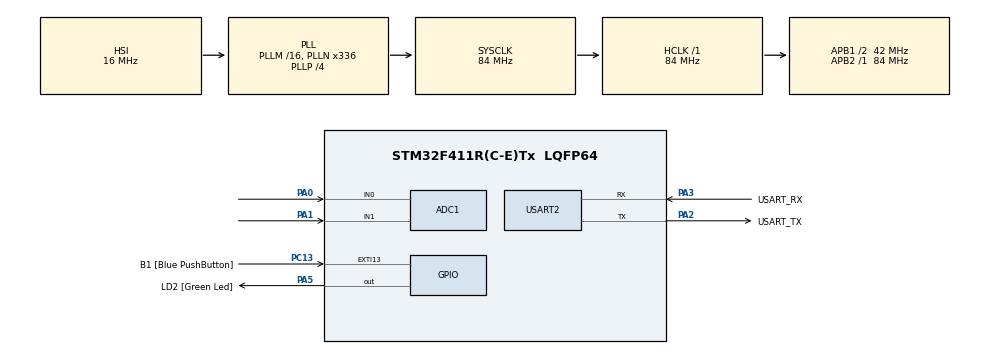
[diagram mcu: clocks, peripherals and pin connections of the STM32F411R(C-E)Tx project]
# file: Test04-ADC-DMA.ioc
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ADC1.Channel-0\#ChannelRegularConversion=ADC_CHANNEL_0
ADC1.Channel-1\#ChannelRegularConversion=ADC_CHANNEL_1
ADC1.ContinuousConvMode=DISABLE
ADC1.DMAContinuousRequests=ENABLE
ADC1.DiscontinuousConvMode=ENABLE
ADC1.EOCSelection=ADC_EOC_SEQ_CONV
ADC1.ExternalTrigConv=ADC_EXTERNALTRIGCONV_T2_TRGO
ADC1.ExternalTrigConvEdge=ADC_EXTERNALTRIGCONVEDGE_FALLING
ADC1.NbrOfConversion=2
ADC1.NbrOfConversionFlag=1
ADC1.Rank-0\#ChannelRegularConversion=1
ADC1.Rank-1\#ChannelRegularConversion=2
ADC1.SamplingTime-0\#ChannelRegularConversion=ADC_SAMPLETIME_3CYCLES
ADC1.SamplingTime-1\#ChannelRegularConversion=ADC_SAMPLETIME_3CYCLES
ADC1.ScanConvMode=ENABLE
ADC1.master=1
Dma.ADC1.0.Direction=DMA_PERIPH_TO_MEMORY
Dma.ADC1.0.FIFOMode=DMA_FIFOMODE_DISABLE
Dma.ADC1.0.Instance=DMA2_Stream0
Dma.ADC1.0.MemDataAlignment=DMA_MDATAALIGN_HALFWORD
Dma.ADC1.0.MemInc=DMA_MINC_ENABLE
Dma.ADC1.0.Mode=DMA_CIRCULAR
Dma.ADC1.0.PeriphDataAlignment=DMA_PDATAALIGN_HALFWORD
Dma.ADC1.0.PeriphInc=DMA_PINC_DISABLE
Dma.ADC1.0.Priority=DMA_PRIORITY_LOW
Dma.Request0=ADC1
Mcu.Family=STM32F4
Mcu.Name=STM32F411R(C-E)Tx
Mcu.Package=LQFP64
NVIC.ADC_IRQn=true\:0\:0\:false\:false\:true\:true\:true\:true
NVIC.DMA2_Stream0_IRQn=true\:0\:0\:false\:false\:true\:false\:true\:true
NVIC.PriorityGroup=NVIC_PRIORITYGROUP_0
PA0-WKUP.Signal=ADCx_IN0
PA1.Signal=ADCx_IN1
PA13.GPIO_Label=TMS
PA13.Mode=Serial_Wire
PA13.Signal=SYS_JTMS-SWDIO
PA14.GPIO_Label=TCK
PA14.Mode=Serial_Wire
PA14.Signal=SYS_JTCK-SWCLK
PA2.GPIO_Label=USART_TX
PA2.Mode=Asynchronous
PA2.Signal=USART2_TX
PA3.GPIO_Label=USART_RX
PA3.Mode=Asynchronous
PA3.Signal=USART2_RX
PA5.GPIO_Label=LD2 [Green Led]
PA5.Signal=GPIO_Output
PB3.GPIO_Label=SWO
PB3.Signal=SYS_JTDO-SWO
PC13-ANTI_TAMP.GPIO_Label=B1 [Blue PushButton]
PC13-ANTI_TAMP.GPIO_ModeDefaultEXTI=GPIO_MODE_IT_FALLING
PC13-ANTI_TAMP.Signal=GPXTI13
PC14-OSC32_IN.Mode=LSE-External-Oscillator
PC14-OSC32_IN.Signal=RCC_OSC32_IN
PC15-OSC32_OUT.Mode=LSE-External-Oscillator
PC15-OSC32_OUT.Signal=RCC_OSC32_OUT
PH0\ -\ OSC_IN.Mode=HSE-External-Clock-Source
PH0\ -\ OSC_IN.Signal=RCC_OSC_IN
PH1\ -\ OSC_OUT.Mode=HSE-External-Clock-Source
PH1\ -\ OSC_OUT.Signal=RCC_OSC_OUT
ProjectManager.HeapSize=0x200
ProjectManager.StackSize=0x400
ProjectManager.TargetToolchain=STM32CubeIDE
RCC.48MHZClocksFreq_Value=84000000
RCC.AHBFreq_Value=84000000
RCC.APB1CLKDivider=RCC_HCLK_DIV2
RCC.APB1Freq_Value=42000000
RCC.APB1TimFreq_Value=84000000
RCC.APB2Freq_Value=84000000
RCC.APB2TimFreq_Value=84000000
RCC.CortexFreq_Value=84000000
RCC.FLatency-AdvancedSettings=FLASH_LATENCY_2
RCC.HCLKFreq_Value=84000000
RCC.HSE_VALUE=8000000
RCC.HSI_VALUE=16000000
RCC.PLLN=336
RCC.PLLP=RCC_PLLP_DIV4
RCC.SYSCLKFreq_VALUE=84000000
RCC.SYSCLKSource=RCC_SYSCLKSOURCE_PLLCLK
RCC.VCOOutputFreq_Value=336000000
SH.ADCx_IN0.0=ADC1_IN0,IN0
SH.ADCx_IN1.0=ADC1_IN1,IN1
TIM2.Period=2000-1
TIM2.Prescaler=8400-1
TIM2.TIM_MasterOutputTrigger=TIM_TRGO_UPDATE
TIM2.TIM_MasterSlaveMode=TIM_MASTERSLAVEMODE_DISABLE
USART2.VirtualMode=VM_ASYNC
VP_TIM2_VS_ClockSourceINT.Mode=Internal
board=NUCLEO-F411RE

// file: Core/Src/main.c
/* USER CODE BEGIN Header */
/**
  ******************************************************************************
  * @file           : main.c
  * @brief          : Main program body
  ******************************************************************************
  * @attention
  *
  * Copyright (c) 2023 STMicroelectronics.
  * All rights reserved.
  *
  * This software is licensed under terms that can be found in the LICENSE file
  * in the root directory of this software component.
  * If no LICENSE file comes with this software, it is provided AS-IS.
  *
  ******************************************************************************
  */
/* USER CODE END Header */
#include "main.h"

ADC_HandleTypeDef hadc1;
DMA_HandleTypeDef hdma_adc1;

TIM_HandleTypeDef htim2;

UART_HandleTypeDef huart2;

void SystemClock_Config(void);
static void MX_GPIO_Init(void);
static void MX_DMA_Init(void);
static void MX_USART2_UART_Init(void);
static void MX_ADC1_Init(void);
static void MX_TIM2_Init(void);

/* USER CODE BEGIN 0 */

int __io_putchar(int c)
{
	HAL_UART_Transmit(&huart2, &c, 1, 10);
	return c;
}

short v[32];
int ch = 2, idx = 0;
void HAL_ADC_ConvCpltCallback(ADC_HandleTypeDef* hadc)
{
	//v[idx++] = HAL_ADC_GetValue(&hadc1);
	//if(idx == ch) idx = 0;
	//printf("[ADC_DMA] x = %4d   y = %4d\r\n", v[0], v[1]);

}
/* USER CODE END 0 */

int main(void)
{

  /* MCU Configuration--------------------------------------------------------*/

  /* Reset of all peripherals, Initializes the Flash interface and the Systick. */
  HAL_Init();

  /* Configure the system clock */
  SystemClock_Config();

  /* Initialize all configured peripherals */
  MX_GPIO_Init();
  MX_DMA_Init();
  MX_USART2_UART_Init();
  MX_ADC1_Init();
  MX_TIM2_Init();
  /* USER CODE BEGIN 2 */

  HAL_TIM_Base_Start(&htim2);
  HAL_ADC_Start_DMA(&hadc1, v, 2);
  /* USER CODE END 2 */

  /* Infinite loop */
  /* USER CODE BEGIN WHILE */
  printf("\033[1J");  // Display Clear
  while (1)
  {
    /* USER CODE END WHILE */

    /* USER CODE BEGIN 3 */
	//for(int i = 0;i < 5;i++)
	{
		//printf("[ADC_DMA] x = %4d   y = %4d\r\n", v[i*2], v[i*2+1]);
		double t = (5000 - v[0]) / 100;
		printf("\033[10;30H   Temperature\r\n");  // Cursor Position Col;Row
		printf("\033[11;25H---------------------\r\n");
		printf("\033[12;30H  Temp  = %4.0f\r\n", t);
		printf("\033[13;30H  Value = %4d\r\n", v[0]);
	}
	//printf("----------------------------------------\r\n");
	HAL_Delay(100);
  }
  /* USER CODE END 3 */
}

void SystemClock_Config(void)
{
  RCC_OscInitTypeDef RCC_OscInitStruct = {0};
  RCC_ClkInitTypeDef RCC_ClkInitStruct = {0};

  /** Configure the main internal regulator output voltage
  */
  __HAL_RCC_PWR_CLK_ENABLE();
  __HAL_PWR_VOLTAGESCALING_CONFIG(PWR_REGULATOR_VOLTAGE_SCALE1);

  /** Initializes the RCC Oscillators according to the specified parameters
  * in the RCC_OscInitTypeDef structure.
  */
  RCC_OscInitStruct.OscillatorType = RCC_OSCILLATORTYPE_HSI;
  RCC_OscInitStruct.HSIState = RCC_HSI_ON;
  RCC_OscInitStruct.HSICalibrationValue = RCC_HSICALIBRATION_DEFAULT;
  RCC_OscInitStruct.PLL.PLLState = RCC_PLL_ON;
  RCC_OscInitStruct.PLL.PLLSource = RCC_PLLSOURCE_HSI;
  RCC_OscInitStruct.PLL.PLLM = 16;
  RCC_OscInitStruct.PLL.PLLN = 336;
  RCC_OscInitStruct.PLL.PLLP = RCC_PLLP_DIV4;
  RCC_OscInitStruct.PLL.PLLQ = 4;
  if (HAL_RCC_OscConfig(&RCC_OscInitStruct) != HAL_OK)
  {
    Error_Handler();
  }

  /** Initializes the CPU, AHB and APB buses clocks
  */
  RCC_ClkInitStruct.ClockType = RCC_CLOCKTYPE_HCLK|RCC_CLOCKTYPE_SYSCLK
                              |RCC_CLOCKTYPE_PCLK1|RCC_CLOCKTYPE_PCLK2;
  RCC_ClkInitStruct.SYSCLKSource = RCC_SYSCLKSOURCE_PLLCLK;
  RCC_ClkInitStruct.AHBCLKDivider = RCC_SYSCLK_DIV1;
  RCC_ClkInitStruct.APB1CLKDivider = RCC_HCLK_DIV2;
  RCC_ClkInitStruct.APB2CLKDivider = RCC_HCLK_DIV1;

  if (HAL_RCC_ClockConfig(&RCC_ClkInitStruct, FLASH_LATENCY_2) != HAL_OK)
  {
    Error_Handler();
  }
}

static void MX_ADC1_Init(void)
{

  ADC_ChannelConfTypeDef sConfig = {0};

  /** Configure the global features of the ADC (Clock, Resolution, Data Alignment and number of conversion)
  */
  hadc1.Instance = ADC1;
  hadc1.Init.ClockPrescaler = ADC_CLOCK_SYNC_PCLK_DIV4;
  hadc1.Init.Resolution = ADC_RESOLUTION_12B;
  hadc1.Init.ScanConvMode = ENABLE;
  hadc1.Init.ContinuousConvMode = DISABLE;
  hadc1.Init.DiscontinuousConvMode = ENABLE;
  hadc1.Init.NbrOfDiscConversion = 1;
  hadc1.Init.ExternalTrigConvEdge = ADC_EXTERNALTRIGCONVEDGE_FALLING;
  hadc1.Init.ExternalTrigConv = ADC_EXTERNALTRIGCONV_T2_TRGO;
  hadc1.Init.DataAlign = ADC_DATAALIGN_RIGHT;
  hadc1.Init.NbrOfConversion = 2;
  hadc1.Init.DMAContinuousRequests = ENABLE;
  hadc1.Init.EOCSelection = ADC_EOC_SEQ_CONV;
  if (HAL_ADC_Init(&hadc1) != HAL_OK)
  {
    Error_Handler();
  }

  /** Configure for the selected ADC regular channel its corresponding rank in the sequencer and its sample time.
  */
  sConfig.Channel = ADC_CHANNEL_0;
  sConfig.Rank = 1;
  sConfig.SamplingTime = ADC_SAMPLETIME_3CYCLES;
  if (HAL_ADC_ConfigChannel(&hadc1, &sConfig) != HAL_OK)
  {
    Error_Handler();
  }

  /** Configure for the selected ADC regular channel its corresponding rank in the sequencer and its sample time.
  */
  sConfig.Channel = ADC_CHANNEL_1;
  sConfig.Rank = 2;
  if (HAL_ADC_ConfigChannel(&hadc1, &sConfig) != HAL_OK)
  {
    Error_Handler();
  }

}

static void MX_TIM2_Init(void)
{

  TIM_ClockConfigTypeDef sClockSourceConfig = {0};
  TIM_MasterConfigTypeDef sMasterConfig = {0};

  htim2.Instance = TIM2;
  htim2.Init.Prescaler = 8400-1;
  htim2.Init.CounterMode = TIM_COUNTERMODE_UP;
  htim2.Init.Period = 2000-1;
  htim2.Init.ClockDivision = TIM_CLOCKDIVISION_DIV1;
  htim2.Init.AutoReloadPreload = TIM_AUTORELOAD_PRELOAD_DISABLE;
  if (HAL_TIM_Base_Init(&htim2) != HAL_OK)
  {
    Error_Handler();
  }
  sClockSourceConfig.ClockSource = TIM_CLOCKSOURCE_INTERNAL;
  if (HAL_TIM_ConfigClockSource(&htim2, &sClockSourceConfig) != HAL_OK)
  {
    Error_Handler();
  }
  sMasterConfig.MasterOutputTrigger = TIM_TRGO_UPDATE;
  sMasterConfig.MasterSlaveMode = TIM_MASTERSLAVEMODE_DISABLE;
  if (HAL_TIMEx_MasterConfigSynchronization(&htim2, &sMasterConfig) != HAL_OK)
  {
    Error_Handler();
  }

}

static void MX_USART2_UART_Init(void)
{

  huart2.Instance = USART2;
  huart2.Init.BaudRate = 115200;
  huart2.Init.WordLength = UART_WORDLENGTH_8B;
  huart2.Init.StopBits = UART_STOPBITS_1;
  huart2.Init.Parity = UART_PARITY_NONE;
  huart2.Init.Mode = UART_MODE_TX_RX;
  huart2.Init.HwFlowCtl = UART_HWCONTROL_NONE;
  huart2.Init.OverSampling = UART_OVERSAMPLING_16;
  if (HAL_UART_Init(&huart2) != HAL_OK)
  {
    Error_Handler();
  }

}

static void MX_DMA_Init(void)
{

  /* DMA controller clock enable */
  __HAL_RCC_DMA2_CLK_ENABLE();

  /* DMA interrupt init */
  /* DMA2_Stream0_IRQn interrupt configuration */
  HAL_NVIC_SetPriority(DMA2_Stream0_IRQn, 0, 0);
  HAL_NVIC_EnableIRQ(DMA2_Stream0_IRQn);

}

static void MX_GPIO_Init(void)
{
  GPIO_InitTypeDef GPIO_InitStruct = {0};

  /* GPIO Ports Clock Enable */
  __HAL_RCC_GPIOC_CLK_ENABLE();
  __HAL_RCC_GPIOH_CLK_ENABLE();
  __HAL_RCC_GPIOA_CLK_ENABLE();
  __HAL_RCC_GPIOB_CLK_ENABLE();

  /*Configure GPIO pin Output Level */
  HAL_GPIO_WritePin(LD2_GPIO_Port, LD2_Pin, GPIO_PIN_RESET);

  /*Configure GPIO pin : B1_Pin */
  GPIO_InitStruct.Pin = B1_Pin;
  GPIO_InitStruct.Mode = GPIO_MODE_IT_FALLING;
  GPIO_InitStruct.Pull = GPIO_NOPULL;
  HAL_GPIO_Init(B1_GPIO_Port, &GPIO_InitStruct);

  /*Configure GPIO pin : LD2_Pin */
  GPIO_InitStruct.Pin = LD2_Pin;
  GPIO_InitStruct.Mode = GPIO_MODE_OUTPUT_PP;
  GPIO_InitStruct.Pull = GPIO_NOPULL;
  GPIO_InitStruct.Speed = GPIO_SPEED_FREQ_LOW;
  HAL_GPIO_Init(LD2_GPIO_Port, &GPIO_InitStruct);

}

void Error_Handler(void)
{
  __disable_irq();
  while (1)
  {
  }
}
